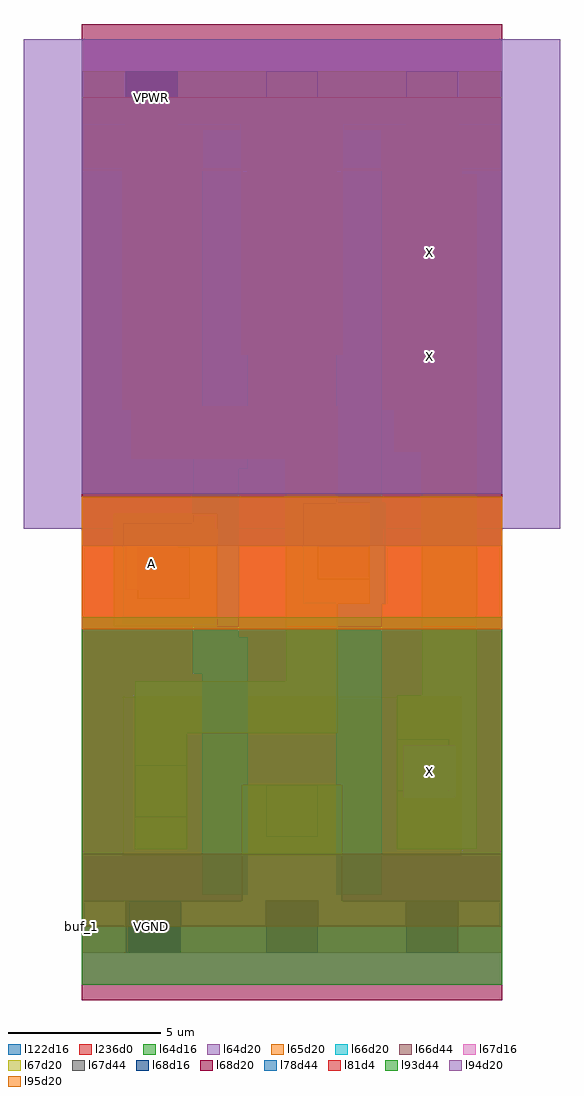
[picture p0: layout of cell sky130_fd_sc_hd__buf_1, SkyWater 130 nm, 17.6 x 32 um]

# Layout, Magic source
magic
tech sky130a
<< l66d20 >>
rect 835 105 985 1060
rect 725 1060 995 1390
rect 835 1390 985 2615
rect 395 105 545 830
rect 365 830 545 950
rect 365 950 515 995
rect 135 995 515 1325
rect 365 1325 515 1500
rect 365 1500 545 1620
rect 395 1620 545 2615
<< l94d20 >>
rect 0 1420 1380 2910
<< l66d44 >>
rect 1035 445 1205 615
rect 1035 1810 1205 1980
rect 1035 2215 1205 2385
rect 775 1140 945 1310
rect 605 295 775 465
rect 605 1875 775 2045
rect 605 2215 775 2385
rect 185 1075 355 1245
rect 175 360 345 530
rect 175 1875 345 2045
rect 175 2215 345 2385
<< l67d44 >>
rect 1065 -85 1235 85
rect 1065 2635 1235 2805
rect 605 -85 775 85
rect 605 2635 775 2805
rect 145 -85 315 85
rect 145 2635 315 2805
<< l95d20 >>
rect 0 975 1380 1410
<< l67d20 >>
rect 1035 255 1295 760
rect 1115 760 1295 1560
rect 1025 1560 1295 2465
rect 0 -85 1380 85
rect 525 85 855 465
rect 175 255 345 635
rect 175 635 840 805
rect 670 805 840 1060
rect 670 1060 945 1390
rect 670 1390 840 1535
rect 165 1535 840 1705
rect 165 1705 345 2465
rect 525 1875 855 2635
rect 0 2635 1380 2805
rect 105 985 445 1355
<< l68d20 >>
rect 0 -240 1380 240
rect 0 2480 1380 2960
<< l65d20 >>
rect 135 235 1245 755
rect 135 1695 1245 2485
<< l93d44 >>
rect 0 -190 1380 1015
<< l64d20 >>
rect -190 1305 1570 2910
<< l68d16 >>
rect 155 -85 325 85
rect 145 2635 315 2805
<< l236d0 >>
rect 0 0 1380 2720
<< l122d16 >>
rect 155 -85 325 85
<< l64d16 >>
rect 145 2635 315 2805
<< l81d4 >>
rect 0 0 1380 2720
<< l78d44 >>
rect 0 1250 1380 2720
<< l67d16 >>
rect 1055 425 1225 595
rect 1055 1785 1225 1955
rect 1055 2125 1225 2295
rect 145 1105 315 1275
rect 145 2635 315 2805
rect 155 -85 325 85
<< labels >>
rlabel l67d5 230 2720 230 2720 0 VPWR
rlabel l67d5 230 0 230 0 0 VGND
rlabel l67d5 1140 510 1140 510 0 X
rlabel l67d5 1140 1870 1140 1870 0 X
rlabel l67d5 1140 2210 1140 2210 0 X
rlabel l67d5 230 1190 230 1190 0 A
rlabel l64d59 230 0 230 0 0 VNB
rlabel l64d5 230 2720 230 2720 0 VPB
rlabel l68d5 230 0 230 0 0 VGND
rlabel l68d5 230 2720 230 2720 0 VPWR
rlabel l83d44 0 0 0 0 0 buf_1
<< end >>
